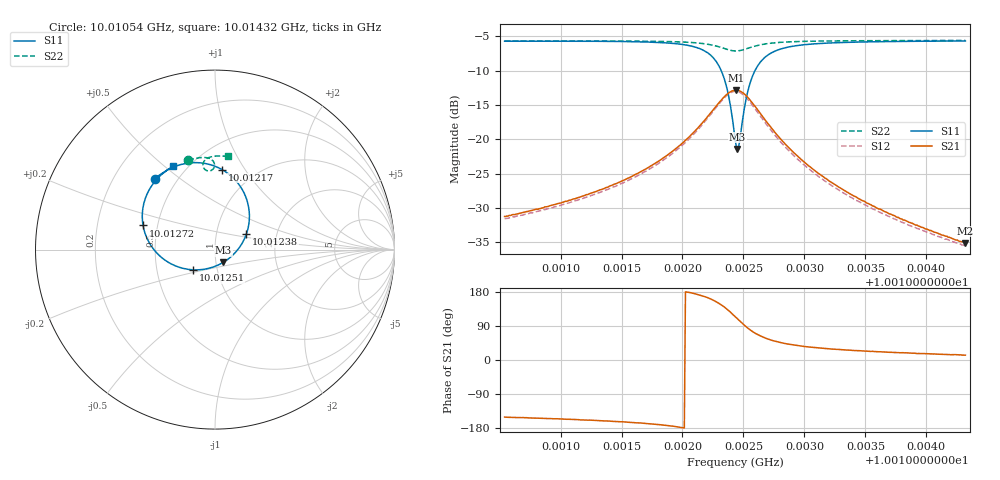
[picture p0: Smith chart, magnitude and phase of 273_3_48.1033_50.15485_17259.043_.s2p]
#  HZ  S  RI  R  50.00
! Rohde & Schwarz Vector Network Analyzer
! Rohde-Schwarz,ZNB20-2Port,1311601062101988,3.16
! Created: UTC 12/23/2023, 4:02:00 AM
! freq[Hz]  re:S11  im:S11  re:S21  im:S21  re:S12  im:S12  re:S22  im:S22
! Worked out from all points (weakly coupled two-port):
!   401 points, 10.01054 GHz to 10.01432 GHz, reference 50 ohm
!   highest |S21| = -12.85 dB at 10.01244 GHz (marker M1); lowest = -35.1 dB at 10.01432 GHz (marker M2)
!   lowest |S11| = -21.4 dB at 10.01245 GHz (marker M3), VSWR 1.19, Z = 54.4 - j7.73 ohm
!   |S11| at or under -10 dB: 10.01232 GHz to 10.01259 GHz (277.6 kHz wide, 0.00277 % of centre)
!   |S22| runs from -7.1 to -5.6 dB; largest |S21 - S12| = 0.011
!   S11 on the Smith chart (normalised r, x): 10.01054 GHz: 0.38, +0.41; 10.01217 GHz: 0.72, +0.80; 10.01238 GHz: 1.40, +0.25; 10.01251 GHz: 0.77, -0.18; 10.01272 GHz: 0.41, +0.14; 10.01432 GHz: 0.42, +0.53
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1.0010541e10  -0.3341 0.3956  -0.0239 -0.0134  -0.0223 -0.0139  -0.1485 0.4977
1.0011174e10  -0.2772 0.4368  -0.0356 -0.0144  -0.0334 -0.0155  -0.1056 0.5088
1.0011807e10  -0.1604 0.4804  -0.0686 -0.0115  -0.0654 -0.0144  -0.0549 0.513
1.0012006e10  -0.077 0.483  -0.0946 -0.00172  -0.0915 -0.00687  -0.0341 0.5093
1.0012166e10  0.0407 0.4452  -0.13 0.0254  -0.1277 0.0175  -0.0142 0.4974
1.0012242e10  0.1166 0.3835  -0.1495 0.0559  -0.1488 0.0461  -0.00577 0.4852
1.0012299e10  0.1699 0.2973  -0.1586 0.0935  -0.1602 0.083  -0.00238 0.4713
1.0012346e10  0.1918 0.1912  -0.1554 0.1337  -0.1582 0.1248  -0.00526 0.4572
1.0012384e10  0.1752 0.0874  -0.1377 0.1701  -0.1422 0.1617  -0.013 0.4464
1.0012431e10  0.0961 -0.0337  -0.0953 0.2068  -0.1009 0.1993  -0.0294 0.4384
1.001244e10  0.0725 -0.0535  -0.0846 0.2115  -0.0899 0.2044  -0.0333 0.438
1.001245e10  0.0471 -0.0706  -0.0733 0.2153  -0.0788 0.2083  -0.0367 0.438
1.0012469e10  -0.00804 -0.0964  -0.0507 0.219  -0.0558 0.2125  -0.0441 0.4396
1.0012506e10  -0.1217 -0.1127  -0.00773 0.2138  -0.013 0.2075  -0.0566 0.4469
1.0012544e10  -0.2204 -0.0907  0.0274 0.196  0.0218 0.1899  -0.0642 0.4573
1.0012592e10  -0.3102 -0.0329  0.0555 0.1663  0.0481 0.1614  -0.0671 0.4709
1.0012724e10  -0.4008 0.1347  0.074 0.0976  0.067 0.0955  -0.0572 0.4971
1.0012875e10  -0.3981 0.2503  0.0647 0.0571  0.0591 0.0571  -0.0401 0.5103
1.0013064e10  -0.3702 0.3266  0.051 0.0339  0.047 0.0343  -0.0209 0.517
1.0013385e10  -0.3253 0.391  0.0357 0.017  0.0332 0.0178  0.00639 0.5211
1.0013697e10  -0.2903 0.4246  0.0268 0.0099  0.0251 0.0109  0.0298 0.5217
1.0014321e10  -0.2336 0.4642  0.0171 0.00389  0.016 0.00465  0.0732 0.5188
